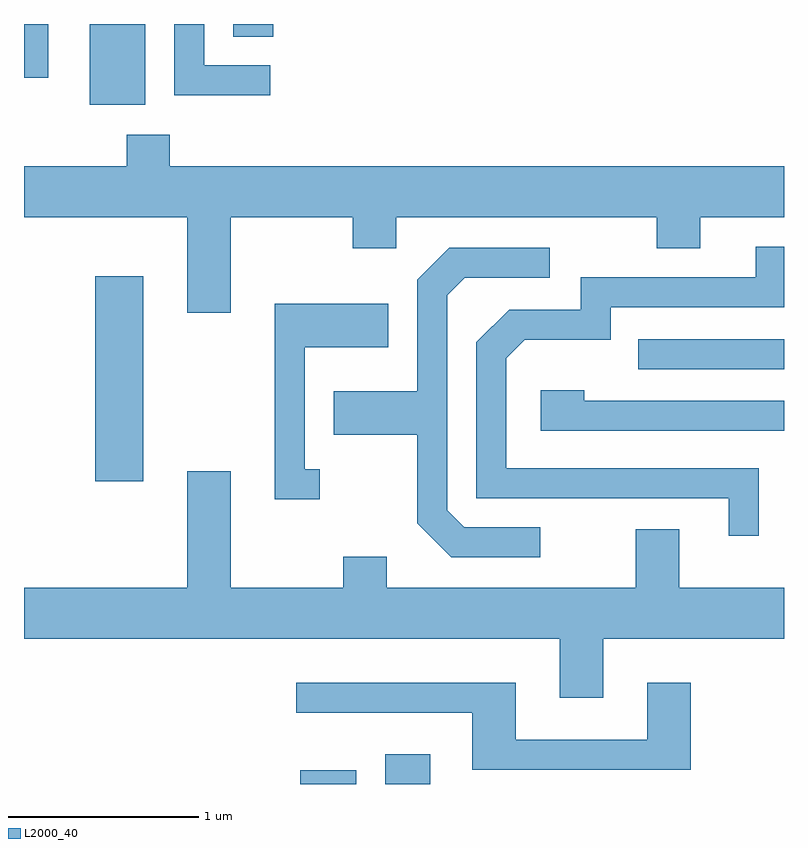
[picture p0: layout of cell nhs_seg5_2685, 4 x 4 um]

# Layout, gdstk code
import gdstk
lib = gdstk.Library(unit=1e-6, precision=1e-09)
def R(c, l, rs):  # rectangles x0, y0, x1, y1
    for r in rs: c.add(gdstk.rectangle(r[:2], r[2:], *l))
def P(c, l, *ps):  # polygons
    for p in ps: c.add(gdstk.Polygon(p, *l))
L2000_40 = (2000, 40)

nhs_seg5_2685 = lib.new_cell('nhs_seg5_2685')
R(nhs_seg5_2685, L2000_40, [(267.066,1416.072,267.359,1416.144), (267.511,1416.072,267.748,1416.229), (265.986,1417.666,266.239,1418.744), (268.843,1418.256,269.611,1418.414), (265.956,1419.646,266.249,1420.072), (265.611,1419.788,265.739,1420.072), (266.711,1420.006,266.924,1420.072)])
P(nhs_seg5_2685, L2000_40, [(266.908,1419.854),(266.559,1419.854),(266.559,1420.072),(266.401,1420.072),(266.401,1419.696),(266.908,1419.696)],
  [(266.699,1419.056),(267.341,1419.056),(267.341,1418.891),(267.569,1418.891),(267.569,1419.056),(268.941,1419.056),(268.941,1418.891),(269.169,1418.891),(269.169,1419.056),(269.611,1419.056),(269.611,1419.324),(266.379,1419.324),(266.379,1419.489),(266.151,1419.489),(266.151,1419.324),(265.611,1419.324),(265.611,1419.056),(266.471,1419.056),(266.471,1418.551),(266.699,1418.551)],
  [(269.479,1417.734),(268.149,1417.734),(268.149,1418.314),(268.247,1418.411),(268.699,1418.411),(268.699,1418.581),(269.611,1418.581),(269.611,1418.899),(269.461,1418.899),(269.461,1418.739),(268.541,1418.739),(268.541,1418.569),(268.164,1418.569),(267.991,1418.397),(267.991,1417.576),(269.321,1417.576),(269.321,1417.378),(269.479,1417.378)],
  [(268.328,1417.424),(267.927,1417.424),(267.839,1417.512),(267.839,1418.644),(267.932,1418.736),(268.378,1418.736),(268.378,1418.894),(267.849,1418.894),(267.681,1418.727),(267.681,1418.139),(267.241,1418.139),(267.241,1417.911),(267.681,1417.911),(267.681,1417.444),(267.859,1417.266),(268.328,1417.266)],
  [(267.168,1417.729),(267.089,1417.729),(267.089,1418.371),(267.529,1418.371),(267.529,1418.599),(266.931,1418.599),(266.931,1417.571),(267.168,1417.571)],
  [(269.611,1418.089),(268.559,1418.089),(268.559,1418.144),(268.331,1418.144),(268.331,1417.931),(269.611,1417.931)],
  [(268.659,1416.836),(269.611,1416.836),(269.611,1417.104),(269.059,1417.104),(269.059,1417.414),(268.831,1417.414),(268.831,1417.104),(267.519,1417.104),(267.519,1417.269),(267.291,1417.269),(267.291,1417.104),(266.699,1417.104),(266.699,1417.719),(266.471,1417.719),(266.471,1417.104),(265.611,1417.104),(265.611,1416.836),(268.431,1416.836),(268.431,1416.526),(268.659,1416.526)],
  [(269.119,1416.604),(268.891,1416.604),(268.891,1416.304),(268.199,1416.304),(268.199,1416.604),(267.043,1416.604),(267.043,1416.446),(267.971,1416.446),(267.971,1416.146),(269.119,1416.146)])

lib.write_gds('nhs_seg5_2685.gds')
